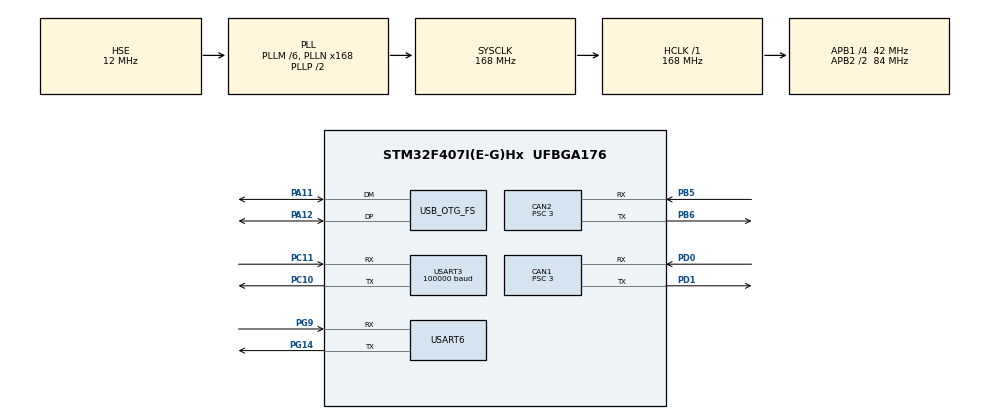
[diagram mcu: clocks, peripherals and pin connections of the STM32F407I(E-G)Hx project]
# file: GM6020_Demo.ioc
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CAN1.AWUM=DISABLE
CAN1.BS1=CAN_BS1_10TQ
CAN1.BS2=CAN_BS2_3TQ
CAN1.CalculateBaudRate=1000000
CAN1.CalculateTimeBit=1000
CAN1.CalculateTimeQuantum=71.42857142857143
CAN1.NART=ENABLE
CAN1.Prescaler=3
CAN2.BS1=CAN_BS1_10TQ
CAN2.BS2=CAN_BS2_3TQ
CAN2.CalculateBaudRate=1000000
CAN2.CalculateTimeBit=1000
CAN2.CalculateTimeQuantum=71.42857142857143
CAN2.NART=ENABLE
CAN2.Prescaler=3
Dma.Request0=USART6_TX
Dma.Request1=USART3_RX
Dma.USART3_RX.1.Direction=DMA_PERIPH_TO_MEMORY
Dma.USART3_RX.1.FIFOMode=DMA_FIFOMODE_DISABLE
Dma.USART3_RX.1.Instance=DMA1_Stream1
Dma.USART3_RX.1.MemDataAlignment=DMA_MDATAALIGN_BYTE
Dma.USART3_RX.1.MemInc=DMA_MINC_ENABLE
Dma.USART3_RX.1.Mode=DMA_CIRCULAR
Dma.USART3_RX.1.PeriphDataAlignment=DMA_PDATAALIGN_BYTE
Dma.USART3_RX.1.PeriphInc=DMA_PINC_DISABLE
Dma.USART3_RX.1.Priority=DMA_PRIORITY_VERY_HIGH
Dma.USART6_TX.0.Direction=DMA_MEMORY_TO_PERIPH
Dma.USART6_TX.0.FIFOMode=DMA_FIFOMODE_DISABLE
Dma.USART6_TX.0.Instance=DMA2_Stream6
Dma.USART6_TX.0.MemDataAlignment=DMA_MDATAALIGN_BYTE
Dma.USART6_TX.0.MemInc=DMA_MINC_ENABLE
Dma.USART6_TX.0.Mode=DMA_NORMAL
Dma.USART6_TX.0.PeriphDataAlignment=DMA_PDATAALIGN_BYTE
Dma.USART6_TX.0.PeriphInc=DMA_PINC_DISABLE
Dma.USART6_TX.0.Priority=DMA_PRIORITY_LOW
FREERTOS.Queues01=Usb_quene,32,uint32_t,0,Dynamic,NULL,NULL;RCqueue,16,uint32_t,0,Dynamic,NULL,NULL
FREERTOS.Tasks01=defaultTask,0,128,StartDefaultTask,Default,NULL,Dynamic,NULL,NULL;GM6020_Task,1,512,StartTask02,Default,NULL,Dynamic,NULL,NULL;GM6020_Task_inn,1,512,StartTask03,Default,NULL,Dynamic,NULL,NULL;CAN_input_task,3,128,StartTask04,Default,NULL,Dynamic,NULL,NULL
Mcu.Family=STM32F4
Mcu.Name=STM32F407I(E-G)Hx
Mcu.Package=UFBGA176
NVIC.CAN1_RX0_IRQn=true\:5\:0\:false\:false\:true\:true\:true\:true\:true
NVIC.CAN2_RX0_IRQn=true\:5\:0\:false\:false\:true\:true\:true\:true\:true
NVIC.DMA1_Stream1_IRQn=true\:5\:0\:false\:false\:true\:true\:false\:true\:true
NVIC.DMA2_Stream6_IRQn=true\:5\:0\:false\:false\:true\:true\:false\:true\:true
NVIC.OTG_FS_IRQn=true\:5\:0\:false\:false\:true\:true\:true\:true\:true
NVIC.PriorityGroup=NVIC_PRIORITYGROUP_4
NVIC.TIM8_TRG_COM_TIM14_IRQn=true\:15\:0\:false\:false\:true\:false\:false\:true\:true
NVIC.TimeBase=TIM8_TRG_COM_TIM14_IRQn
NVIC.TimeBaseIP=TIM14
NVIC.USART6_IRQn=true\:5\:0\:false\:false\:true\:true\:true\:true\:true
PA11.Mode=Device_Only
PA11.Signal=USB_OTG_FS_DM
PA12.Mode=Device_Only
PA12.Signal=USB_OTG_FS_DP
PA13.Mode=Serial_Wire
PA13.Signal=SYS_JTMS-SWDIO
PA14.Mode=Serial_Wire
PA14.Signal=SYS_JTCK-SWCLK
PA9.Signal=USART1_TX
PB5.Mode=CAN_Activate
PB5.Signal=CAN2_RX
PB6.Mode=CAN_Activate
PB6.Signal=CAN2_TX
PC10.Mode=Asynchronous
PC10.Signal=USART3_TX
PC11.Mode=Asynchronous
PC11.Signal=USART3_RX
PD0.Mode=CAN_Activate
PD0.Signal=CAN1_RX
PD1.Mode=CAN_Activate
PD1.Signal=CAN1_TX
PG14.Mode=Asynchronous
PG14.Signal=USART6_TX
PG9.Mode=Asynchronous
PG9.Signal=USART6_RX
PH0-OSC_IN.Mode=HSE-External-Oscillator
PH0-OSC_IN.Signal=RCC_OSC_IN
PH1-OSC_OUT.Mode=HSE-External-Oscillator
PH1-OSC_OUT.Signal=RCC_OSC_OUT
ProjectManager.HeapSize=0x200
ProjectManager.StackSize=0x400
ProjectManager.TargetToolchain=MDK-ARM V5.32
RCC.48MHZClocksFreq_Value=48000000
RCC.AHBFreq_Value=168000000
RCC.APB1CLKDivider=RCC_HCLK_DIV4
RCC.APB1Freq_Value=42000000
RCC.APB1TimFreq_Value=84000000
RCC.APB2CLKDivider=RCC_HCLK_DIV2
RCC.APB2Freq_Value=84000000
RCC.APB2TimFreq_Value=168000000
RCC.CortexFreq_Value=168000000
RCC.HCLKFreq_Value=168000000
RCC.HSE_VALUE=12000000
RCC.HSI_VALUE=16000000
RCC.LSE_VALUE=32768
RCC.PLLM=6
RCC.PLLN=168
RCC.PLLQ=7
RCC.SYSCLKFreq_VALUE=168000000
RCC.SYSCLKSource=RCC_SYSCLKSOURCE_PLLCLK
RCC.VCOOutputFreq_Value=336000000
USART3.BaudRate=100000
USART3.Parity=PARITY_EVEN
USART3.VirtualMode=VM_ASYNC
USART3.WordLength=WORDLENGTH_9B
USART6.VirtualMode=VM_ASYNC
USB_DEVICE.CLASS_NAME_FS=CDC
USB_DEVICE.VirtualMode-CDC_FS=Cdc
USB_DEVICE.VirtualModeFS=Cdc_FS
USB_OTG_FS.VirtualMode=Device_Only
VP_FREERTOS_VS_CMSIS_V1.Mode=CMSIS_V1
VP_SYS_VS_tim14.Mode=TIM14
VP_USB_DEVICE_VS_USB_DEVICE_CDC_FS.Mode=CDC_FS
board=custom

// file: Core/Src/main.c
/* USER CODE BEGIN Header */
/**
  ******************************************************************************
  * @file           : main.c
  * @brief          : Main program body
  ******************************************************************************
  * @attention
  *
  * Copyright (c) 2025 STMicroelectronics.
  * All rights reserved.
  *
  * This software is licensed under terms that can be found in the LICENSE file
  * in the root directory of this software component.
  * If no LICENSE file comes with this software, it is provided AS-IS.
  *
  ******************************************************************************
  */
/* USER CODE END Header */
#include "main.h"
#include "cmsis_os.h"
#include "can.h"
#include "dma.h"
#include "usart.h"
#include "usb_device.h"
#include "gpio.h"

/* USER CODE BEGIN Includes */
#include "dri_can.h"
#include "dvc_dji_gm6020.h"
#include "Remote_Control.h"
/* USER CODE END Includes */

/* USER CODE BEGIN PTD */
Moto_GM6020_t GM6020;
Moto_GM6020_t GM6020_pitch;
/* USER CODE END PTD */

/* USER CODE BEGIN PV */
uint8_t sbus_buf[18];//遥控器的数据是18字节的
/* USER CODE END PV */

void SystemClock_Config(void);
void MX_FREERTOS_Init(void);
/* USER CODE BEGIN PFP */
void HAL_UART_RxCpltcallback(UART_HandleTypeDef *UartHandle);
/* USER CODE END PFP */

int main(void)
{

  /* MCU Configuration--------------------------------------------------------*/

  /* Reset of all peripherals, Initializes the Flash interface and the Systick. */
  HAL_Init();

  /* Configure the system clock */
  SystemClock_Config();

  /* Initialize all configured peripherals */
  MX_GPIO_Init();
  MX_DMA_Init();
  MX_CAN1_Init();
  MX_USART6_UART_Init();
  MX_USART3_UART_Init();
  MX_CAN2_Init();
  /* USER CODE BEGIN 2 */
  CAN_Filter_Init();
//  MX_USB_DEVICE_Init();
	RC_init();
  /* USER CODE END 2 */

  /* Call init function for freertos objects (in cmsis_os2.c) */
  MX_FREERTOS_Init();

  /* Start scheduler */
  osKernelStart();

  /* We should never get here as control is now taken by the scheduler */

  /* Infinite loop */
  while (1)
  {

  }
}

void SystemClock_Config(void)
{
  RCC_OscInitTypeDef RCC_OscInitStruct = {0};
  RCC_ClkInitTypeDef RCC_ClkInitStruct = {0};

  /** Configure the main internal regulator output voltage
  */
  __HAL_RCC_PWR_CLK_ENABLE();
  __HAL_PWR_VOLTAGESCALING_CONFIG(PWR_REGULATOR_VOLTAGE_SCALE1);

  /** Initializes the RCC Oscillators according to the specified parameters
  * in the RCC_OscInitTypeDef structure.
  */
  RCC_OscInitStruct.OscillatorType = RCC_OSCILLATORTYPE_HSE;
  RCC_OscInitStruct.HSEState = RCC_HSE_ON;
  RCC_OscInitStruct.PLL.PLLState = RCC_PLL_ON;
  RCC_OscInitStruct.PLL.PLLSource = RCC_PLLSOURCE_HSE;
  RCC_OscInitStruct.PLL.PLLM = 6;
  RCC_OscInitStruct.PLL.PLLN = 168;
  RCC_OscInitStruct.PLL.PLLP = RCC_PLLP_DIV2;
  RCC_OscInitStruct.PLL.PLLQ = 7;
  if (HAL_RCC_OscConfig(&RCC_OscInitStruct) != HAL_OK)
  {
    Error_Handler();
  }

  /** Initializes the CPU, AHB and APB buses clocks
  */
  RCC_ClkInitStruct.ClockType = RCC_CLOCKTYPE_HCLK|RCC_CLOCKTYPE_SYSCLK
                              |RCC_CLOCKTYPE_PCLK1|RCC_CLOCKTYPE_PCLK2;
  RCC_ClkInitStruct.SYSCLKSource = RCC_SYSCLKSOURCE_PLLCLK;
  RCC_ClkInitStruct.AHBCLKDivider = RCC_SYSCLK_DIV1;
  RCC_ClkInitStruct.APB1CLKDivider = RCC_HCLK_DIV4;
  RCC_ClkInitStruct.APB2CLKDivider = RCC_HCLK_DIV2;

  if (HAL_RCC_ClockConfig(&RCC_ClkInitStruct, FLASH_LATENCY_5) != HAL_OK)
  {
    Error_Handler();
  }
}

void HAL_TIM_PeriodElapsedCallback(TIM_HandleTypeDef *htim)
{
  if (htim->Instance == TIM14) {
    HAL_IncTick();
  }
}

void Error_Handler(void)
{
  __disable_irq();
  while (1)
  {
  }
}

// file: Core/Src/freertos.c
/* USER CODE BEGIN Header */
/**
  ******************************************************************************
  * File Name          : freertos.c
  * Description        : Code for freertos applications
  ******************************************************************************
  * @attention
  *
  * Copyright (c) 2025 STMicroelectronics.
  * All rights reserved.
  *
  * This software is licensed under terms that can be found in the LICENSE file
  * in the root directory of this software component.
  * If no LICENSE file comes with this software, it is provided AS-IS.
  *
  ******************************************************************************
  */
/* USER CODE END Header */

#include "FreeRTOS.h"
#include "task.h"
#include "main.h"
#include "cmsis_os.h"

/* USER CODE BEGIN Includes */
#include "queue.h"
#include "dri_uart.h"
#include "usb_device.h"
#include "usbd_cdc_if.h"
#include "pid.h"

/* USER CODE END Includes */

/* USER CODE BEGIN PD */
#define MSG_MAGIC 0x00FF1234    //消息头用于分别数据，此处表示左开关
#define MSG_MAGIC2 0x00FF1235//用于分别数据，表示是yaw轴
#define MSG_MAGIC3 0x00FF1236//pitch轴
/* USER CODE END PD */

/* USER CODE BEGIN Variables */
//extern QueueHandle_t Usb_quene;
extern Moto_GM6020_t GM6020;
extern Moto_GM6020_t GM6020_pitch;
extern PID PosePID_yaw;
extern PID PosePID_pitch;
extern uint8_t CAN_Input;
extern PID VelPID_yaw;
extern PID VelPID_pitch;

extern CAN_RxHeaderTypeDef rx_header;//can总线接受的接收区头
extern uint8_t rx_data[8];
BaseType_t xStatus2;
//uint16_t target=100;
/* USER CODE END Variables */
osThreadId defaultTaskHandle;
osThreadId GM6020_TaskHandle;
osThreadId GM6020_Task_innHandle;
osThreadId CAN_input_taskHandle;
osMessageQId Usb_queneHandle;
osMessageQId RCqueueHandle;

void StartDefaultTask(void const * argument);
void StartTask02(void const * argument);
void StartTask03(void const * argument);
void StartTask04(void const * argument);

extern void MX_USB_DEVICE_Init(void);
void MX_FREERTOS_Init(void); /* (MISRA C 2004 rule 8.1) */

/* GetIdleTaskMemory prototype (linked to static allocation support) */
void vApplicationGetIdleTaskMemory( StaticTask_t **ppxIdleTaskTCBBuffer, StackType_t **ppxIdleTaskStackBuffer, uint32_t *pulIdleTaskStackSize );

/* USER CODE BEGIN GET_IDLE_TASK_MEMORY */
static StaticTask_t xIdleTaskTCBBuffer;
static StackType_t xIdleStack[configMINIMAL_STACK_SIZE];

void vApplicationGetIdleTaskMemory( StaticTask_t **ppxIdleTaskTCBBuffer, StackType_t **ppxIdleTaskStackBuffer, uint32_t *pulIdleTaskStackSize )
{
  *ppxIdleTaskTCBBuffer = &xIdleTaskTCBBuffer;
  *ppxIdleTaskStackBuffer = &xIdleStack[0];
  *pulIdleTaskStackSize = configMINIMAL_STACK_SIZE;
  /* place for user code */
}
/* USER CODE END GET_IDLE_TASK_MEMORY */

void MX_FREERTOS_Init(void) {

  /* Create the queue(s) */
  /* definition and creation of Usb_quene */
  osMessageQDef(Usb_quene, 32, uint32_t);
  Usb_queneHandle = osMessageCreate(osMessageQ(Usb_quene), NULL);

  /* definition and creation of RCqueue */
  osMessageQDef(RCqueue, 16, uint32_t);
  RCqueueHandle = osMessageCreate(osMessageQ(RCqueue), NULL);

  /* Create the thread(s) */
  /* definition and creation of defaultTask */
  osThreadDef(defaultTask, StartDefaultTask, osPriorityNormal, 0, 128);
  defaultTaskHandle = osThreadCreate(osThread(defaultTask), NULL);

  /* definition and creation of GM6020_Task */
  osThreadDef(GM6020_Task, StartTask02, osPriorityAboveNormal, 0, 512);
  GM6020_TaskHandle = osThreadCreate(osThread(GM6020_Task), NULL);

  /* definition and creation of GM6020_Task_inn */
  osThreadDef(GM6020_Task_inn, StartTask03, osPriorityAboveNormal, 0, 512);
  GM6020_Task_innHandle = osThreadCreate(osThread(GM6020_Task_inn), NULL);

  /* definition and creation of CAN_input_task */
  osThreadDef(CAN_input_task, StartTask04, osPriorityRealtime, 0, 128);
  CAN_input_taskHandle = osThreadCreate(osThread(CAN_input_task), NULL);

}

void StartDefaultTask(void const * argument)
{
  /* init code for USB_DEVICE */
  MX_USB_DEVICE_Init();
  /* USER CODE BEGIN StartDefaultTask */
  /* Infinite loop */
	uint8_t minipc_tx_buff[18];
  for(;;)
  {
	//CDC_Transmit_FS(minipc_tx_buff, sizeof(minipc_tx_buff));
	VOFA_Tx();
    osDelay(10);
  }
  /* USER CODE END StartDefaultTask */
}

void StartTask02(void const * argument)
{
  /* USER CODE BEGIN StartTask02 */
	uint32_t received_target_angle;
	float received_traget_angle_f;
	uint32_t temp_message;
	 BaseType_t xStatus1;
	BaseType_t xStatus2;
	uint8_t emergence_stop=0;
	 const TickType_t xTicksToWait = 0;//静态变量
	 init_sine_generator(0.0f);//初始化正弦波发生器

  /* Infinite loop */
  for(;;)
  {
		//float target_position = generate_sine_target();
		xStatus1 = xQueueReceive(RCqueueHandle, &temp_message, xTicksToWait);
		  // 检查是否成功接收到数据
    if (xStatus1 == pdPASS)
    {
		if(temp_message==MSG_MAGIC){
				xQueueReceive(RCqueueHandle, &temp_message, xTicksToWait);

				if(temp_message==1){
				Send_GM6020_Motor_Message(0x00, 0x00, 0x00, 0x00);
					emergence_stop=1;
				}else{
					emergence_stop=0;
				}

			}else if(temp_message==MSG_MAGIC2){
				xQueueReceive(RCqueueHandle, &received_target_angle, xTicksToWait);
				received_traget_angle_f=(float)received_target_angle;
				GM6020.Set_Angle+=(received_traget_angle_f-1024)*0.1;

				if(GM6020.Set_Angle>=8192){
					GM6020.Set_Angle=0;
				}
				if(GM6020.Set_Angle<0){
					GM6020.Set_Angle+=8191;
				}
			}
			}
				//////////pitch轴电机控制/////////////
					//float target_position = generate_sine_target();
		xStatus1 = xQueueReceive(RCqueueHandle, &temp_message, xTicksToWait);
		  // 检查是否成功接收到数据
    if (xStatus1 == pdPASS)
    {
		if(temp_message==MSG_MAGIC){
				xQueueReceive(RCqueueHandle, &temp_message, xTicksToWait);

				if(temp_message==1){
				Send_GM6020_Motor_Message(0x00, 0x00, 0x00, 0x00);
					emergence_stop=1;
				}else{
					emergence_stop=0;
				}

			}else if(temp_message==MSG_MAGIC3){
					xQueueReceive(RCqueueHandle, &received_target_angle, xTicksToWait);
				received_traget_angle_f=(float)received_target_angle;
				GM6020_pitch.Set_Angle+=(received_traget_angle_f-1024)*0.1;

				if(GM6020_pitch.Set_Angle>=2330){
					GM6020_pitch.Set_Angle=2330;
				}
				if(GM6020_pitch.Set_Angle<1090){
					GM6020_pitch.Set_Angle=1090;
				}
			}

	  }
		//GM6020.Set_Angle = generate_sine_target();
		//float temp_result1=position_PID(target_position,GM6020.rotor_angle);
		float temp_result1=position_PID(GM6020.Set_Angle,GM6020.rotor_angle,&PosePID_yaw);
		GM6020.test=temp_result1;
		float temp_result2=position_PID(GM6020_pitch.Set_Angle,GM6020_pitch.rotor_angle,&PosePID_pitch);
		if (emergence_stop != 1) {
    // 发送消息类型标识符
    uint32_t msg_type = MSG_MAGIC2;
    xStatus2=xQueueSend(Usb_queneHandle, &msg_type, xTicksToWait);

    // 发送yaw轴数据
    uint32_t raw_data = *(uint32_t*)&temp_result1;
    xQueueSend(Usb_queneHandle, &raw_data, xTicksToWait);

    // 发送另一轴数据
    msg_type = MSG_MAGIC3;
    xQueueSend(Usb_queneHandle, &msg_type, xTicksToWait);
    raw_data = *(uint32_t*)&temp_result2;
    xQueueSend(Usb_queneHandle, &raw_data, xTicksToWait);
    }
		if(xStatus2!=pdPASS){
     UBaseType_t messages_waiting = uxQueueMessagesWaiting(Usb_queneHandle);
			printf("队列已满！当前消息数：%lu，%d）\r\n", messages_waiting, 32); // 32 是你的队列容量(并不是32强鸽鸽）
		}
    vTaskDelay(pdMS_TO_TICKS(1));

  }
  /* USER CODE END StartTask02 */
}

void StartTask03(void const * argument)
{
  /* USER CODE BEGIN StartTask03 */
	uint32_t received_target_velocity;
	uint32_t received_target_velocity2;
	float received_target_velocity_f;
  float received_target_velocity2_f;	// 用于存储从队列接收到的目标速度2
  BaseType_t xStatus;             // 用于检查 xQueueReceive 的返回值
	uint32_t temp_message;
  const TickType_t xTicksToWait = 0; // 设置等待时间
  /* Infinite loop */
  for(;;)
  {
		xStatus = xQueueReceive(Usb_queneHandle, &temp_message, xTicksToWait);
		if(temp_message==MSG_MAGIC2){
				xStatus =xQueueReceive(Usb_queneHandle, &received_target_velocity, xTicksToWait);
				received_target_velocity_f=*(float*)&received_target_velocity;
				xStatus =xQueueReceive(Usb_queneHandle, &temp_message, xTicksToWait);
			if(temp_message==MSG_MAGIC3){
				xQueueReceive(Usb_queneHandle, &received_target_velocity2, xTicksToWait);
		    received_target_velocity2_f=*(float*)&received_target_velocity2;

			}
		}

		  // 检查是否成功接收到数据
    if (xStatus == pdPASS)
    {
      // 成功接收到数据，现在 received_target_velocity 包含了 Task02 发送的值
      // 使用接收到的值作为速度PID的目标值

			received_target_velocity_f=(received_target_velocity_f>=340)?340:received_target_velocity_f;
			received_target_velocity_f=(received_target_velocity_f<=-340)?-340:received_target_velocity_f;

			GM6020.Set_Speed=received_target_velocity_f;
			received_target_velocity2_f=(received_target_velocity2_f>=340)?340:received_target_velocity2_f;
			received_target_velocity2_f=(received_target_velocity2_f<=-340)?-340:received_target_velocity2_f;
			//float temp_result = velocity_PID(received_target_velocity_f, GM6020.rotor_speed,&VelPID_yaw);
      float temp_result2 = velocity_PID(received_target_velocity2_f, GM6020_pitch.rotor_speed,&VelPID_pitch);
      float temp_result = velocity_PID(GM6020.Set_Speed, GM6020.rotor_speed,&VelPID_yaw);
			//GM6020.test=temp_result;

      // temp_result2 （目标电压）需要转换类型。
      int16_t motor_command = (int16_t)temp_result;
      motor_command = (motor_command > 25000) ? 25000 : motor_command; // 限制上限
      motor_command = (motor_command < -25000) ? -25000 : motor_command; // 限制下限
			int16_t motor_command2 = (int16_t)temp_result2;
      motor_command2 = (motor_command2 > 25000) ? 25000 : motor_command2; // 限制上限
      motor_command2 = (motor_command2 < -25000) ? -25000 : motor_command2; // 限制下限
      GM6020.test=motor_command;//第一个电机控制的是yaw轴喔
			Send_GM6020_Motor_Message(motor_command2, 0x00,motor_command, 0x00);
    }
    else
    {
      // 未能从队列接收到数据
      // 错误处理逻辑，发送一个安全的电机指令（0）
      Send_GM6020_Motor_Message(0x00, 0x00, 0x00, 0x00);
      // printf("Failed to receive from queue\n"); // 调试信息
    }
		osDelay(1);
  }
  /* USER CODE END StartTask03 */
}

void StartTask04(void const * argument)
{
  /* USER CODE BEGIN StartTask04 */
  /* Infinite loop */
  for(;;)
  {

    if (CAN_Input == 1) {
      /* 信号到达后的处理流程 */
      Get_GM6020_Motor_Message(rx_header.StdId,rx_data);
      CAN_Input=0;
      /* 处理完成后自动回到循环开头，再次进入阻塞 */
    }

    osDelay(1);
  }
  /* USER CODE END StartTask04 */
}
